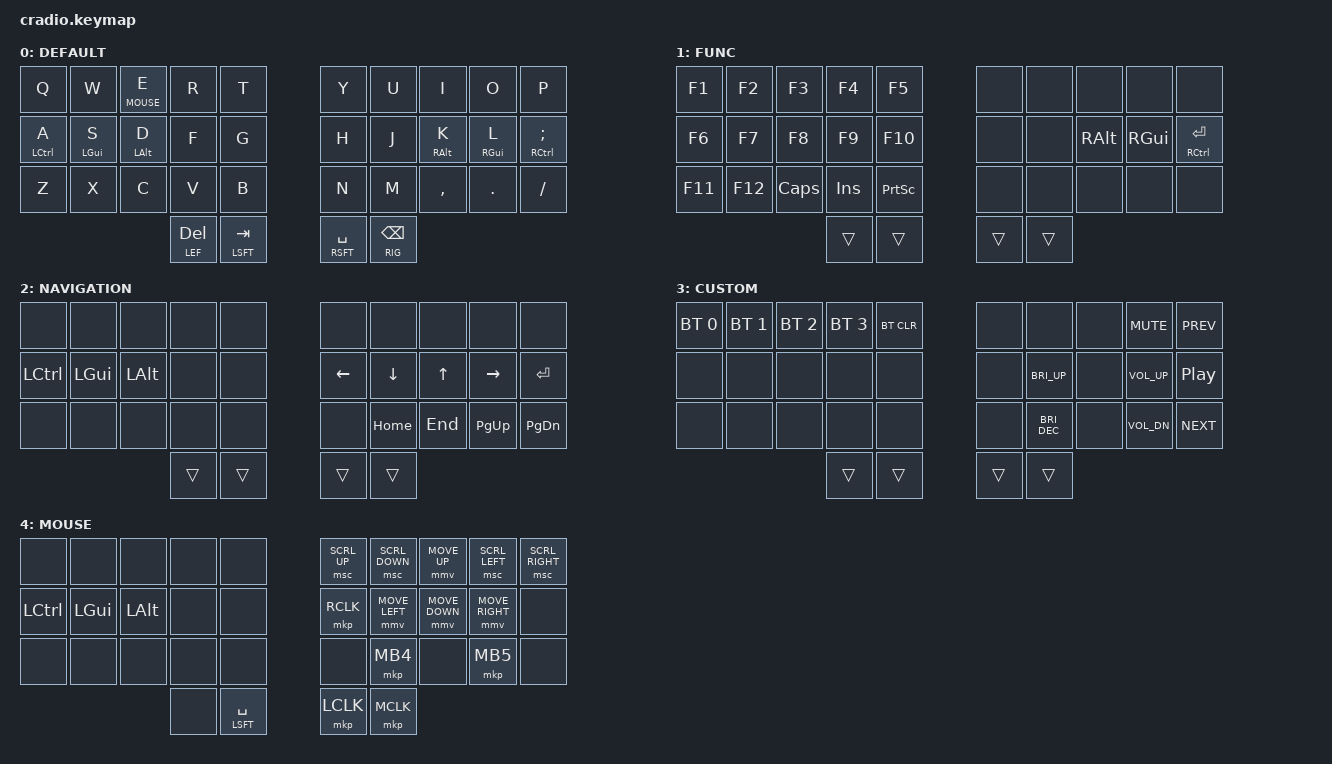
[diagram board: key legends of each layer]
// Copyright (c) 2022 The ZMK Contributors
// SPDX-License-Identifier: MIT

#define ZMK_POINTING_DEFAULT_MOVE_VAL 2500
#define ZMK_POINTING_DEFAULT_SCRL_VAL 20

#include <behaviors.dtsi>
#include <dt-bindings/zmk/bt.h>
#include <dt-bindings/zmk/keys.h>
#include <dt-bindings/zmk/outputs.h>
#include <dt-bindings/zmk/pointing.h>

#define WIN 0
#define RIG 1
#define LEF 2
#define TRI 3
#define MOUSE 4

/ {
    behaviors {
        // 1. Optimized for Home Row Mods at 100+ WPM
        hrm: home_row_mods {
            display-name = "Home Row Mods";
            compatible = "zmk,behavior-hold-tap";
            #binding-cells = <2>;
            flavor = "tap-preferred"; 
            tapping-term-ms = <200>;
            quick-tap-ms = <200>; 
            require-prior-idle-ms = <150>;
            bindings = <&kp>, <&kp>;
        };

        // 2. Optimized specifically for your Thumb Shift/Space/Tab keys
        thumb_ht: thumb_hold_tap {
            display-name = "Thumb Hold Tap";
            compatible = "zmk,behavior-hold-tap";
            #binding-cells = <2>;
            flavor = "balanced";
            tapping-term-ms = <200>;
            quick-tap-ms = <200>;
            require-prior-idle-ms = <150>; // Added back for intentional layer pausing
            bindings = <&kp>, <&kp>;
        };
        
        mmv {
            acceleration-exponent = <1>;
            time-to-max-speed-ms = <300>;
            delay-ms = <0>;
        };
        msc {
            acceleration-exponent = <0>;
            time-to-max-speed-ms = <40>;
            delay-ms = <0>;
        };
    };

    combos {
        compatible = "zmk,combos";

        // Vertical Barring (Numbers)
        combo_1 { timeout-ms = <35>; key-positions = <0 10>; bindings = <&kp N1>; layers = <WIN>; };
        combo_2 { timeout-ms = <35>; key-positions = <1 11>; bindings = <&kp N2>; layers = <WIN>; };
        combo_3 { timeout-ms = <35>; key-positions = <2 12>; bindings = <&kp N3>; layers = <WIN>; };
        combo_4 { timeout-ms = <35>; key-positions = <3 13>; bindings = <&kp N4>; layers = <WIN>; };
        combo_5 { timeout-ms = <35>; key-positions = <4 14>; bindings = <&kp N5>; layers = <WIN>; };
        combo_6 { timeout-ms = <35>; key-positions = <5 15>; bindings = <&kp N6>; layers = <WIN>; };
        combo_7 { timeout-ms = <35>; key-positions = <6 16>; bindings = <&kp N7>; layers = <WIN>; };
        combo_8 { timeout-ms = <35>; key-positions = <7 17>; bindings = <&kp N8>; layers = <WIN>; };
        combo_9 { timeout-ms = <35>; key-positions = <8 18>; bindings = <&kp N9>; layers = <WIN>; };
        combo_0 { timeout-ms = <35>; key-positions = <9 19>; bindings = <&kp N0>; layers = <WIN>; };

        // Vertical Barring (Symbols & Nav)
        // LEFT HAND
        combo_grave { bindings = <&kp GRAVE>; key-positions = <10 20>; timeout-ms = <35>; layers = <WIN>; };
        combo_minus { bindings = <&kp MINUS>; key-positions = <12 22>; timeout-ms = <35>; layers = <WIN>; };
        combo_equal { bindings = <&kp EQUAL>; key-positions = <13 23>; timeout-ms = <35>; layers = <WIN>; };
        combo_esc   { bindings = <&kp ESCAPE>; key-positions = <14 24>; timeout-ms = <35>; layers = <WIN>; };

        // RIGHT HAND
        combo_lbr   { bindings = <&kp LEFT_BRACKET>; key-positions = <16 26>; timeout-ms = <35>; layers = <WIN>; };
        combo_rbr   { bindings = <&kp RIGHT_BRACKET>; key-positions = <17 27>; timeout-ms = <35>; layers = <WIN>; };
        combo_apos  { bindings = <&kp APOSTROPHE>; key-positions = <18 28>; timeout-ms = <35>; layers = <WIN>; };
        combo_bslh  { bindings = <&kp BACKSLASH>; key-positions = <19 29>; timeout-ms = <35>; layers = <WIN>; };
    };

    conditional_layers {
        compatible = "zmk,conditional-layers";
        tri_layer {
            if-layers = <RIG LEF>;
            then-layer = <TRI>;
        };
    };

    keymap {
        compatible = "zmk,keymap";

        default_layer {
            display-name = "DEFAULT";
            bindings = <
&kp Q        &kp W        &lt MOUSE E  &kp R        &kp T        &kp Y        &kp U        &kp I        &kp O        &kp P
&hrm LCTRL A &hrm LGUI S  &hrm LALT D  &kp F        &kp G        &kp H        &kp J        &hrm RALT K  &hrm RGUI L  &hrm RCTRL SEMI
&kp Z        &kp X        &kp C        &kp V        &kp B        &kp N        &kp M        &kp COMMA    &kp DOT      &kp SLASH
                                       &lt LEF DELETE  &thumb_ht LSFT TAB  &thumb_ht RSFT SPACE  &lt RIG BACKSPACE
            >;
        };

        right_layer {
            display-name = "FUNC";
            bindings = <
&kp F1   &kp F2   &kp F3        &kp F4      &kp F5           &none     &none     &none      &none     &none
&kp F6   &kp F7   &kp F8        &kp F9      &kp F10          &none     &none     &kp RALT   &kp RGUI  &hrm RCTRL ENTER
&kp F11  &kp F12  &kp CAPSLOCK  &kp INSERT  &kp PRINTSCREEN  &none     &none     &none      &none     &none
                                &trans      &trans           &trans    &trans
            >;
        };

        left_layer {
            display-name = "NAVIGATION";
            bindings = <
&none      &none      &none      &none      &none      &none      &none     &none      &none      &none
&kp LCTRL  &kp LGUI   &kp LALT   &none      &none      &kp LEFT   &kp DOWN  &kp UP     &kp RIGHT  &kp ENTER
&none      &none      &none      &none      &none      &none      &kp HOME  &kp END    &kp PG_UP  &kp PG_DN
                                 &trans     &trans     &trans     &trans
            >;
        };

        tri_layer {
            display-name = "CUSTOM";
            bindings = <
&bt BT_SEL 0  &bt BT_SEL 1  &bt BT_SEL 2  &bt BT_SEL 3  &bt BT_CLR  &none  &none          &none   &kp C_MUTE    &kp C_PREV
&none         &none         &none         &none         &none       &none  &kp C_BRI_UP   &none   &kp C_VOL_UP  &kp C_PP
&none         &none         &none         &none         &none       &none  &kp C_BRI_DEC  &none   &kp C_VOL_DN  &kp C_NEXT
                                          &trans        &trans      &trans &trans
            >;
        };

        mouse {
            display-name = "MOUSE";
            bindings = <
&none      &none      &none      &none      &none  &msc SCRL_UP  &msc SCRL_DOWN  &mmv MOVE_UP    &msc SCRL_LEFT   &msc SCRL_RIGHT
&kp LCTRL  &kp LGUI   &kp LALT   &none      &none  &mkp RCLK     &mmv MOVE_LEFT  &mmv MOVE_DOWN  &mmv MOVE_RIGHT  &none
&none      &none      &none      &none      &none  &none         &mkp MB4        &none           &mkp MB5         &none
                                 &none      &thumb_ht LSFT SPACE  &mkp LCLK &mkp MCLK
            >;
        };
    };
};
